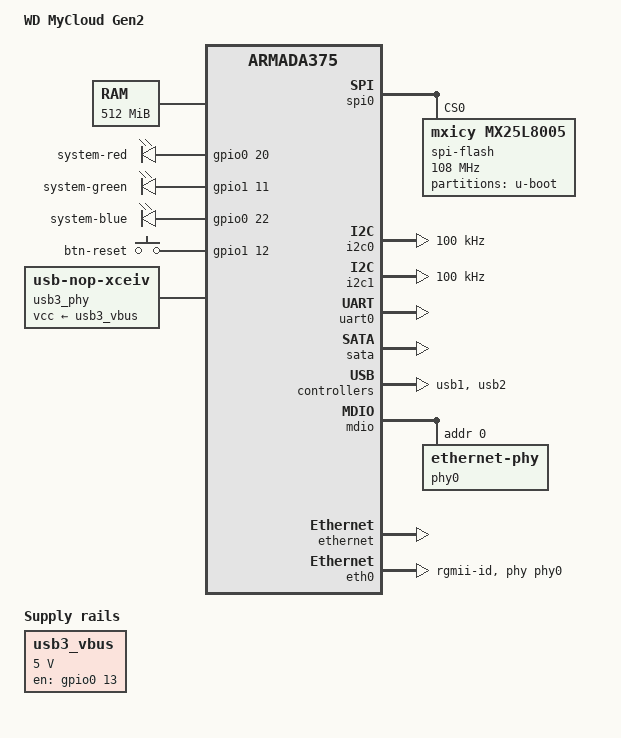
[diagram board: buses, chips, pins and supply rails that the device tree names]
/*
 * Device Tree file for WD MyCloud based on Marvell Armada 375
 * (DB-88F6720)
 *
 *  Copyright (C) 2014 Marvell
 *
 * Gregory CLEMENT <gregory.clement@free-electrons.com>
 * Thomas Petazzoni <thomas.petazzoni@free-electrons.com>
 * Allester Fox <fox.axon@gmail.com>
 *
 * This file is dual-licensed: you can use it either under the terms
 * of the GPL or the X11 license, at your option. Note that this dual
 * licensing only applies to this file, and not this project as a
 * whole.
 *
 *  a) This file is free software; you can redistribute it and/or
 *     modify it under the terms of the GNU General Public License as
 *     published by the Free Software Foundation; either version 2 of the
 *     License, or (at your option) any later version.
 *
 *     This file is distributed in the hope that it will be useful,
 *     but WITHOUT ANY WARRANTY; without even the implied warranty of
 *     MERCHANTABILITY or FITNESS FOR A PARTICULAR PURPOSE.  See the
 *     GNU General Public License for more details.
 *
 * Or, alternatively,
 *
 *  b) Permission is hereby granted, free of charge, to any person
 *     obtaining a copy of this software and associated documentation
 *     files (the "Software"), to deal in the Software without
 *     restriction, including without limitation the rights to use,
 *     copy, modify, merge, publish, distribute, sublicense, and/or
 *     sell copies of the Software, and to permit persons to whom the
 *     Software is furnished to do so, subject to the following
 *     conditions:
 *
 *     The above copyright notice and this permission notice shall be
 *     included in all copies or substantial portions of the Software.
 *
 *     THE SOFTWARE IS PROVIDED "AS IS", WITHOUT WARRANTY OF ANY KIND,
 *     EXPRESS OR IMPLIED, INCLUDING BUT NOT LIMITED TO THE WARRANTIES
 *     OF MERCHANTABILITY, FITNESS FOR A PARTICULAR PURPOSE AND
 *     NONINFRINGEMENT. IN NO EVENT SHALL THE AUTHORS OR COPYRIGHT
 *     HOLDERS BE LIABLE FOR ANY CLAIM, DAMAGES OR OTHER LIABILITY,
 *     WHETHER IN AN ACTION OF CONTRACT, TORT OR OTHERWISE, ARISING
 *     FROM, OUT OF OR IN CONNECTION WITH THE SOFTWARE OR THE USE OR
 *     OTHER DEALINGS IN THE SOFTWARE.
 */

/dts-v1/;
#include <dt-bindings/gpio/gpio.h>
#include "armada-375.dtsi"

/ {
	model = "WD MyCloud Gen2";
	compatible = "marvell,a375-db", "marvell,armada375";

	chosen {
		stdout-path = "serial0:115200n8";
	};

	memory@0 {
		device_type = "memory";
		reg = <0x00000000 0x20000000>; /* 512 MB */
	};

	soc {
		ranges = <MBUS_ID(0xf0, 0x01) 0 0xf1000000 0x100000
			  MBUS_ID(0x01, 0x1d) 0 0xfff00000 0x100000
			  MBUS_ID(0x09, 0x09) 0 0xf1100000 0x10000
			  MBUS_ID(0x09, 0x05) 0 0xf1110000 0x10000>;

	};

	gpio-leds {
		compatible = "gpio-leds";
		pinctrl-names = "default";
		pinctrl-0 = <&sys_led_pins>;

		system-red {
			label = "system-red";
			gpios = <&gpio0 20 GPIO_ACTIVE_HIGH>;	// chip, pin, state (1=active-low)
			// Triggers: none nand-disk timer oneshot heartbeat backlight gpio cpu0 cpu1 default-on
			linux,default-trigger = "default-on";
			default-state = "on";
		};
		system-green {
			label = "system-green";
			gpios = <&gpio1 11 GPIO_ACTIVE_HIGH>; // 43 (mpp43) - 32 (gpio in chip) = 11 (pin in this chip)
			linux,default-trigger = "default-on";
			default-state = "on";
		};
		system-blue {
			label = "system-blue";
			gpios = <&gpio0 22 GPIO_ACTIVE_HIGH>;
			linux,default-trigger = "default-off";
			default-state = "off";
		};
	};

	gpio-keys {
		compatible = "gpio-keys";
		pinctrl-names = "default";
		pinctrl-0 = <&btn_reset_pins>;
		#address-cells = <1>;
		#size-cells = <0>;

		btn-reset {
			label = "btn-reset";
			gpios = <&gpio1 12 GPIO_ACTIVE_HIGH>; // 44-32=12
			linux,code = <198>; // KEY_RESTART, from: include/uapi/linux/input-event-codes.h
			gpio-key,wakeup;
			//autorepeat;
		};
	};

	usb3_phy: usb3-phy {
		compatible = "usb-nop-xceiv";
		vcc-supply = <&usb3_vbus>;
	};

	usb3_vbus: usb3-vbus {
		compatible = "regulator-fixed";
		pinctrl-names = "default";
		pinctrl-0 = <&usb3_vbus_pins>;
		regulator-name = "usb3-vbus";
		regulator-min-microvolt = <5000000>;
		regulator-max-microvolt = <5000000>;
		enable-active-high;
		regulator-always-on;
		gpio = <&gpio0 13 GPIO_ACTIVE_HIGH>;
	};
};

&spi0 {
	pinctrl-0 = <&spi0_pins>;
	pinctrl-names = "default";
	status = "okay";

	spi-flash@0 {
		#address-cells = <1>;
		#size-cells = <1>;
		compatible = "mxicy,mx25l8005", "jedec,spi-nor";
		reg = <0>; /* Chip select 0 */
		spi-max-frequency = <108000000>;
		partition@0 {
			label = "u-boot";
			reg = <0x0 0x100000>;
		};
	};
};

&i2c0 {
	status = "okay";
	clock-frequency = <100000>;
	pinctrl-0 = <&i2c0_pins>;
	pinctrl-names = "default";
};

&i2c1 {
	status = "okay";
	clock-frequency = <100000>;
	pinctrl-0 = <&i2c1_pins>;
	pinctrl-names = "default";
};

&uart0 {
	status = "okay";
};

&pinctrl {
	sys_led_pins: sys-led-pins {
		marvell,pins = "mpp20", "mpp43", "mpp22"; // R G B
		marvell,function = "gpio";
	};

	btn_reset_pins: btn-reset-pins {
		marvell,pins = "mpp44";
		marvell,function = "gpio";
	};

	usb3_vbus_pins: usb3-vbus-pins {
		marvell,pins = "mpp13";
		marvell,function = "gpio";
	};
};

&sata {
	status = "okay";
	nr-ports = <1>;
};

&usb1 {
	status = "okay";
};

&usb2 {
	status = "okay";
};

&mdio {
	phy0: ethernet-phy@0 {
		reg = <0>;
	};
};

&ethernet {
	status = "okay";
};

&eth0 {
	status = "okay";
	phy = <&phy0>;
	phy-mode = "rgmii-id";
};
